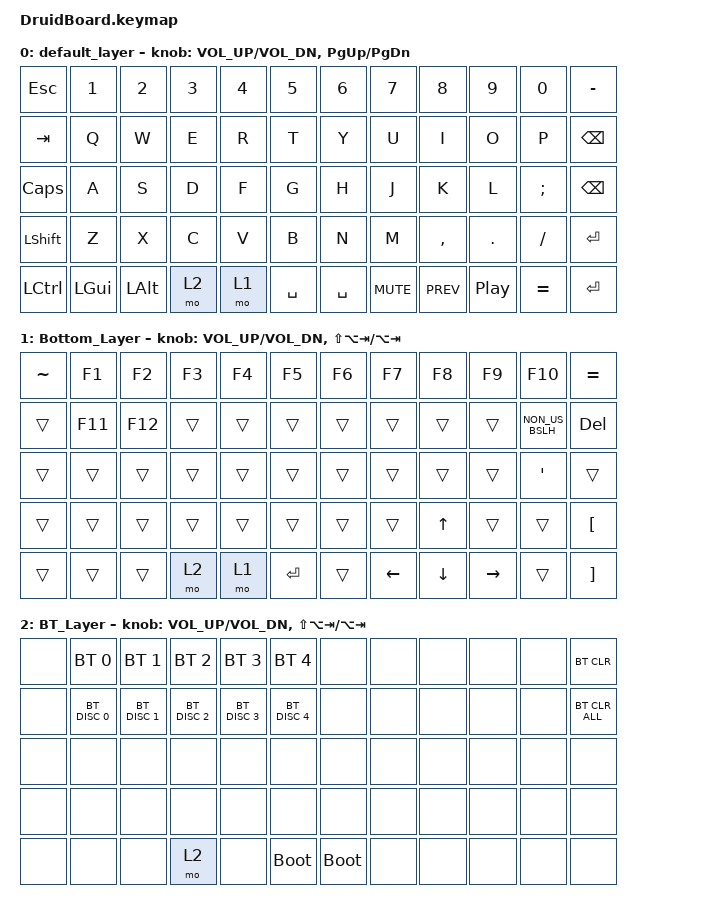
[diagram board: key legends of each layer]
#include <behaviors.dtsi>
#include <dt-bindings/zmk/keys.h>
#include <dt-bindings/zmk/bt.h>
#include <dt-bindings/zmk/pointing.h>

/ {
    keymap {
        compatible = "zmk,keymap";

        default_layer {
            #display_name = "default";
            bindings = <
                &kp ESC     &kp N1      &kp N2      &kp N3 &kp N4   &kp N5      &kp N6      &kp N7      &kp N8      &kp N9      &kp N0      &kp MINUS
                &kp TAB     &kp Q       &kp W       &kp E  &kp R    &kp T       &kp Y       &kp U       &kp I       &kp O       &kp P       &kp BACKSPACE
                &kp CAPS    &kp A       &kp S       &kp D  &kp F    &kp G       &kp H       &kp J       &kp K       &kp L       &kp SEMI    &kp BACKSPACE
                &kp LSHIFT  &kp Z       &kp X       &kp C  &kp V    &kp B       &kp N       &kp M       &kp COMMA   &kp PERIOD  &kp FSLH    &kp RET
                &kp LCTRL   &kp LGUI    &kp LALT    &mo 2  &mo 1    &kp SPACE   &kp SPACE   &kp C_MUTE  &kp C_PREV  &kp C_PP    &kp EQUAL  &kp RET
            >;

            sensor-bindings = <
                &inc_dec_kp C_VOL_UP C_VOL_DN
                &inc_dec_kp PG_UP PG_DN
            >;
        };

        Bottom_Layer {
            bindings = <
                &kp TILDE   &kp F1      &kp F2      &kp F3 &kp F4       &kp F5      &kp F6      &kp F7      &kp F8      &kp F9      &kp F10          &kp EQUAL  
                &trans      &kp F11     &kp F12     &trans &trans       &trans      &trans      &trans      &trans      &trans      &kp NON_US_BSLH  &kp DELETE  
                &trans      &trans      &trans      &trans &trans       &trans      &trans      &trans      &trans      &trans      &kp SINGLE_QUOTE &trans  
                &trans      &trans      &trans      &trans &trans       &trans      &trans      &trans      &kp UP      &trans      &trans           &kp LEFT_BRACKET 
                &trans      &trans      &trans      &mo 2  &mo 1        &kp RET     &trans      &kp LEFT    &kp DOWN    &kp RIGHT   &trans           &kp RIGHT_BRACKET
            >;

            sensor-bindings = <
                &inc_dec_kp C_VOL_UP C_VOL_DN
                &inc_dec_kp LS(LA(TAB)) LA(TAB)
            >;
        };

        BT_Layer {
            bindings = <
                &none       &bt BT_SEL 0    &bt BT_SEL 1    &bt BT_SEL 2    &bt BT_SEL 3    &bt BT_SEL 4    &none       &none   &none   &none   &none   &bt BT_CLR
                &none       &bt BT_DISC 0   &bt BT_DISC 1   &bt BT_DISC 2   &bt BT_DISC 3   &bt BT_DISC 4   &none       &none   &none   &none   &none   &bt BT_CLR_ALL
                &none       &none           &none           &none           &none           &none           &none       &none   &none   &none   &none   &none
                &none       &none           &none           &none           &none           &none           &none       &none   &none   &none   &none   &none
                &none       &none           &none           &mo 2           &none           &bootloader     &bootloader &none   &none   &none   &none   &none
            >;

            sensor-bindings = <
                &inc_dec_kp C_VOL_UP C_VOL_DN
                &inc_dec_kp LS(LA(TAB)) LA(TAB)
            >;
        };
    };
};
